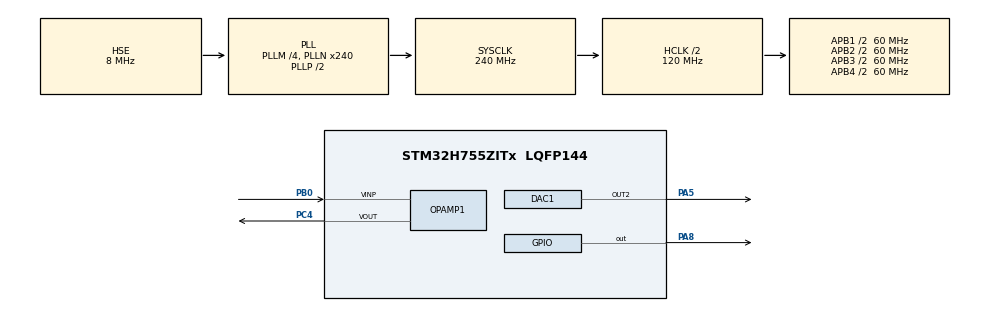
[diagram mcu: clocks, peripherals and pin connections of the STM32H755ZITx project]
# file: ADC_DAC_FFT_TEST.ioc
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ADC2.Channel-16\#ChannelRegularConversion=ADC_CHANNEL_4
ADC2.ConversionDataManagement=ADC_CONVERSIONDATA_DMA_CIRCULAR
ADC2.ExternalTrigConv=ADC_EXTERNALTRIG_T8_TRGO
ADC2.NbrOfConversionFlag=1
ADC2.OffsetNumber-16\#ChannelRegularConversion=ADC_OFFSET_NONE
ADC2.OffsetSignedSaturation-16\#ChannelRegularConversion=DISABLE
ADC2.Rank-16\#ChannelRegularConversion=1
ADC2.Resolution=ADC_RESOLUTION_12B
ADC2.SamplingTime-16\#ChannelRegularConversion=ADC_SAMPLETIME_32CYCLES_5
CORTEX_M7.CPU_DCache=Enabled
CORTEX_M7.CPU_ICache=Enabled
CORTEX_M7.default_mode_Activation=1
CortexM4.IPs=FATFS_M4\:I,FREERTOS_M4\:I,IWDG2\:I,RCC,WWDG2\:I,DMA,BDMA,MDMA,NVIC2\:I,USART3,DEBUG,PDM2PCM_M4\:I,PWR,RESMGR_UTILITY,SYS_M4\:I,USB_DEVICE_M4\:I,USB_HOST_M4\:I,CORTEX_M4\:I,GPIO,OPENAMP_M4\:I,VREFBUF
CortexM7.IPs=FATFS_M7\:I,FREERTOS_M7\:I,IWDG1\:I,RCC\:I,WWDG1\:I,DMA\:I,BDMA\:I,MDMA\:I,NVIC1\:I,USART3\:I,USB_OTG_FS\:I,SYS\:I,CORTEX_M7\:I,DEBUG\:I,PDM2PCM_M7\:I,PWR\:I,RESMGR_UTILITY\:I,USB_DEVICE_M7\:I,USB_HOST_M7\:I,GPIO\:I,OPENAMP_M7\:I,VREFBUF\:I,DAC1\:I,TIM5\:I,TIM8\:I,OPAMP2\:I,ADC2\:I,OPAMP1\:I
DAC1.DAC_Channel-DAC_OUT2=DAC_CHANNEL_2
DAC1.DAC_Trigger-DAC_OUT2=DAC_TRIGGER_T5_TRGO
Dma.ADC2.1.Direction=DMA_PERIPH_TO_MEMORY
Dma.ADC2.1.EventEnable=DISABLE
Dma.ADC2.1.FIFOMode=DMA_FIFOMODE_DISABLE
Dma.ADC2.1.Instance=DMA2_Stream0
Dma.ADC2.1.MemDataAlignment=DMA_MDATAALIGN_HALFWORD
Dma.ADC2.1.MemInc=DMA_MINC_ENABLE
Dma.ADC2.1.Mode=DMA_CIRCULAR
Dma.ADC2.1.PeriphDataAlignment=DMA_PDATAALIGN_HALFWORD
Dma.ADC2.1.PeriphInc=DMA_PINC_DISABLE
Dma.ADC2.1.Polarity=HAL_DMAMUX_REQ_GEN_RISING
Dma.ADC2.1.Priority=DMA_PRIORITY_HIGH
Dma.ADC2.1.RequestNumber=1
Dma.ADC2.1.SignalID=NONE
Dma.ADC2.1.SyncEnable=DISABLE
Dma.ADC2.1.SyncPolarity=HAL_DMAMUX_SYNC_NO_EVENT
Dma.ADC2.1.SyncRequestNumber=1
Dma.ADC2.1.SyncSignalID=NONE
Dma.DAC1_CH2.0.Direction=DMA_MEMORY_TO_PERIPH
Dma.DAC1_CH2.0.EventEnable=DISABLE
Dma.DAC1_CH2.0.FIFOMode=DMA_FIFOMODE_DISABLE
Dma.DAC1_CH2.0.Instance=DMA1_Stream1
Dma.DAC1_CH2.0.MemDataAlignment=DMA_MDATAALIGN_HALFWORD
Dma.DAC1_CH2.0.MemInc=DMA_MINC_ENABLE
Dma.DAC1_CH2.0.Mode=DMA_CIRCULAR
Dma.DAC1_CH2.0.PeriphDataAlignment=DMA_PDATAALIGN_HALFWORD
Dma.DAC1_CH2.0.PeriphInc=DMA_PINC_DISABLE
Dma.DAC1_CH2.0.Polarity=HAL_DMAMUX_REQ_GEN_RISING
Dma.DAC1_CH2.0.Priority=DMA_PRIORITY_VERY_HIGH
Dma.DAC1_CH2.0.RequestNumber=1
Dma.DAC1_CH2.0.SignalID=NONE
Dma.DAC1_CH2.0.SyncEnable=DISABLE
Dma.DAC1_CH2.0.SyncPolarity=HAL_DMAMUX_SYNC_NO_EVENT
Dma.DAC1_CH2.0.SyncRequestNumber=1
Dma.DAC1_CH2.0.SyncSignalID=NONE
Dma.Request0=DAC1_CH2
Dma.Request1=ADC2
Mcu.Family=STM32H7
Mcu.Name=STM32H755ZITx
Mcu.Package=LQFP144
NVIC1.DMA1_Stream1_IRQn=true\:0\:0\:false\:false\:true\:false\:true\:true
NVIC1.DMA2_Stream0_IRQn=true\:0\:0\:false\:false\:true\:false\:true\:true
NVIC1.PriorityGroup=NVIC_PRIORITYGROUP_4
NVIC2.PriorityGroup=NVIC_PRIORITYGROUP_4
PA5.PinAttribute=CortexM7
PA5.Signal=COMP_DAC12_group
PA8.PinAttribute=Free
PA8.Signal=GPIO_Output
PB0.Mode=Follower
PB0.PinAttribute=CortexM7
PB0.Signal=OPAMP1_VINP
PC4.Mode=Follower
PC4.PinAttribute=CortexM7
PC4.Signal=OPAMP1_VOUT
PH0-OSC_IN\ (PH0).Mode=HSE-External-Oscillator
PH0-OSC_IN\ (PH0).PinAttribute=CortexM7
PH0-OSC_IN\ (PH0).Signal=RCC_OSC_IN
PH1-OSC_OUT\ (PH1).Mode=HSE-External-Oscillator
PH1-OSC_OUT\ (PH1).PinAttribute=CortexM7
PH1-OSC_OUT\ (PH1).Signal=RCC_OSC_OUT
ProjectManager.HeapSize=M4-0x200,M7-0x200
ProjectManager.StackSize=M4-0x400,M7-0x400
ProjectManager.TargetToolchain=STM32CubeIDE
RCC.ADCFreq_Value=160000000
RCC.APB1Freq_Value=60000000
RCC.APB2Freq_Value=60000000
RCC.APB3Freq_Value=60000000
RCC.APB4Freq_Value=60000000
RCC.CortexFreq_Value=240000000
RCC.D1PPRE=RCC_APB3_DIV2
RCC.D2PPRE1=RCC_APB1_DIV2
RCC.D2PPRE2=RCC_APB2_DIV2
RCC.D3PPRE=RCC_APB4_DIV2
RCC.DIVM1=4
RCC.DIVM2=4
RCC.DIVN1=240
RCC.DIVN2=80
RCC.DIVP2=1
RCC.DIVQ1=5
RCC.HCLKFreq_Value=120000000
RCC.HPRE=RCC_HCLK_DIV2
RCC.HSE_VALUE=8000000
RCC.PLL2FRACN=0
RCC.PLL3FRACN=0
RCC.PLLFRACN=0
RCC.PLLSourceVirtual=RCC_PLLSOURCE_HSE
RCC.PWR_Regulator_Voltage_Scale=PWR_REGULATOR_VOLTAGE_SCALE1
RCC.ProductRev=revY
RCC.SYSCLKFreq_VALUE=240000000
RCC.SYSCLKSource=RCC_SYSCLKSOURCE_PLLCLK
RCC.SupplySource=PWR_DIRECT_SMPS_SUPPLY
RCC.USBFreq_Value=96000000
SH.COMP_DAC12_group.0=DAC1_OUT2,DAC_OUT2
TIM5.AutoReloadPreload=TIM_AUTORELOAD_PRELOAD_DISABLE
TIM5.Period=5000
TIM5.TIM_MasterOutputTrigger=TIM_TRGO_UPDATE
TIM8.AutoReloadPreload=TIM_AUTORELOAD_PRELOAD_DISABLE
TIM8.Period=5000
TIM8.TIM_MasterOutputTrigger=TIM_TRGO_UPDATE
VP_ADC2_OPAMP1_OUT.Mode=IN4-OPAMP1-Single-Ended
VP_SYS_M4_VS_Systick.Mode=SysTick
VP_TIM5_VS_ClockSourceINT.Mode=Internal
VP_TIM8_VS_ClockSourceINT.Mode=Internal
board=NUCLEO-H755ZI-Q

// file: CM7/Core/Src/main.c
/* USER CODE BEGIN Header */
/**
  ******************************************************************************
  * @file           : main.c
  * @brief          : Main program body
  ******************************************************************************
  * @attention
  *
  * Copyright (c) 2023 STMicroelectronics.
  * All rights reserved.
  *
  * This software is licensed under terms that can be found in the LICENSE file
  * in the root directory of this software component.
  * If no LICENSE file comes with this software, it is provided AS-IS.
  *
  ******************************************************************************
  */
/* USER CODE END Header */
#include "main.h"

/* USER CODE BEGIN Includes */
#include "arm_math.h"

/* USER CODE END Includes */

/* USER CODE BEGIN PD */

#ifndef HSEM_ID_0
#define HSEM_ID_0 (0U) /* HW semaphore 0*/
#endif
/* USER CODE END PD */

ADC_HandleTypeDef hadc2;
DMA_HandleTypeDef hdma_adc2;

DAC_HandleTypeDef hdac1;
DMA_HandleTypeDef hdma_dac1_ch2;

OPAMP_HandleTypeDef hopamp1;

TIM_HandleTypeDef htim5;
TIM_HandleTypeDef htim8;

void SystemClock_Config(void);
static void MPU_Config(void);
static void MX_GPIO_Init(void);
static void MX_DMA_Init(void);
static void MX_DAC1_Init(void);
static void MX_TIM5_Init(void);
static void MX_TIM8_Init(void);
static void MX_ADC2_Init(void);
static void MX_OPAMP1_Init(void);

/* USER CODE BEGIN 0 */
volatile uint8_t ADC_buffer_is_full=0;
volatile uint8_t ADC_buffer_is_half_full=0;
volatile uint8_t DAC_buffer_is_full=0;
volatile uint8_t DAC_buffer_is_half_full=0;
void HAL_ADC_ConvHalfCpltCallback(ADC_HandleTypeDef* hadc) {
	ADC_buffer_is_full=1;

}

// Called when buffer is completely filled
void HAL_ADC_ConvCpltCallback(ADC_HandleTypeDef* hadc) {
	//HAL_GPIO_WritePin(GPIOA, GPIO_PIN_5, GPIO_PIN_RESET);
	ADC_buffer_is_half_full=1;
}

void HAL_DACEx_ConvCpltCallbackCh2(DAC_HandleTypeDef *hdac){
	DAC_buffer_is_full=1;
}

void HAL_DACEx_ConvHalfCpltCallbackCh2(DAC_HandleTypeDef *hdac){
	DAC_buffer_is_half_full=1;
}

// best settings: 7000/512
#define sampleSize 1024
#define TIME_PERIOD 1000
#define inputBufferSize 512
#define outputBufferSize 512

float32_t octave_up1_blend=1;
float32_t octave_down1_blend=0;
float32_t original_blend=1;
/* USER CODE END 0 */

int main(void)
{
/* USER CODE BEGIN Boot_Mode_Sequence_0 */
  int32_t timeout;
/* USER CODE END Boot_Mode_Sequence_0 */

  /* MPU Configuration--------------------------------------------------------*/
  MPU_Config();

  /* Enable I-Cache---------------------------------------------------------*/
  SCB_EnableICache();

  /* Enable D-Cache---------------------------------------------------------*/
  SCB_EnableDCache();

/* USER CODE BEGIN Boot_Mode_Sequence_1 */
  /* Wait until CPU2 boots and enters in stop mode or timeout*/
  timeout = 0xFFFF;
  //while((__HAL_RCC_GET_FLAG(RCC_FLAG_D2CKRDY) != RESET) && (timeout-- > 0));
  if ( timeout < 0 )
  {
  Error_Handler();
  }
/* USER CODE END Boot_Mode_Sequence_1 */
  /* MCU Configuration--------------------------------------------------------*/

  /* Reset of all peripherals, Initializes the Flash interface and the Systick. */
  HAL_Init();

  /* Configure the system clock */
  SystemClock_Config();
/* USER CODE BEGIN Boot_Mode_Sequence_2 */
/* When system initialization is finished, Cortex-M7 will release Cortex-M4 by means of
HSEM notification */
/*HW semaphore Clock enable*/
__HAL_RCC_HSEM_CLK_ENABLE();
/*Take HSEM */
HAL_HSEM_FastTake(HSEM_ID_0);
/*Release HSEM in order to notify the CPU2(CM4)*/
HAL_HSEM_Release(HSEM_ID_0,0);
/* wait until CPU2 wakes up from stop mode */
timeout = 0xFFFF;
//while((__HAL_RCC_GET_FLAG(RCC_FLAG_D2CKRDY) == RESET) && (timeout-- > 0));
if ( timeout < 0 )
{
Error_Handler();
}
/* USER CODE END Boot_Mode_Sequence_2 */

  /* Initialize all configured peripherals */
  MX_GPIO_Init();
  MX_DMA_Init();
  MX_DAC1_Init();
  MX_TIM5_Init();
  MX_TIM8_Init();
  MX_ADC2_Init();
  MX_OPAMP1_Init();

  /* Infinite loop */
  /* USER CODE BEGIN WHILE */

  GPIO_InitTypeDef GPIO_InitStruct={0};
  GPIO_InitStruct.Pin=GPIO_PIN_8;
  GPIO_InitStruct.Mode=GPIO_MODE_OUTPUT_PP;
  GPIO_InitStruct.Speed=GPIO_SPEED_FREQ_LOW;
  HAL_GPIO_Init(GPIOA, &GPIO_InitStruct);

  // init ADC and DAC buffers
  uint16_t data_ADC[inputBufferSize*2]={0};
  uint16_t data_ADC_buffer[sampleSize];
  uint16_t data_DAC[outputBufferSize*2];
  uint16_t data_DAC_saved[sampleSize];
  uint16_t data_DAC_saved_LAST[sampleSize];
  uint16_t data_DAC_saved_LAST_saved[sampleSize];
  float32_t HANN_windowsfunction[sampleSize];

  for(int i=0;i<sampleSize;i++){
	  HANN_windowsfunction[i]=0.5 * (1.0 - cos(2.0 * M_PI * (double)i / (double)sampleSize));
  }

  // start DMA for ADC and DAC
  HAL_ADC_Start_DMA(&hadc2, (uint32_t*)data_ADC, inputBufferSize*2);
  HAL_DAC_Start_DMA(&hdac1, DAC_CHANNEL_2, (uint32_t*)data_DAC, outputBufferSize*2, DAC_ALIGN_12B_R);
  uint32_t adc_buffer_counter=0;
  uint32_t dac_buffer_counter=0;

  HAL_OPAMP_Start(&hopamp1);
  // start Timers for ADC and DAC
  HAL_TIM_Base_Start(&htim8);
  HAL_TIM_Base_Start(&htim5);

 // fft helping variables
  float32_t data_ADC_f[sampleSize];
  float32_t FFT_cmplx_output[sampleSize];
  float32_t FFT_amplitude[sampleSize/2];
  float32_t FFT_cmplx_output_copy[sampleSize/2]={0};

	arm_rfft_fast_instance_f32  f32instancec;
	arm_rfft_fast_init_f32(&f32instancec, sampleSize);
	uint8_t state;
	uint8_t DAC_data_rdy=0;

	uint32_t timeADC=HAL_GetTick();
  while (1)
  {

	  if(DAC_data_rdy){
		  if(DAC_buffer_is_full){

			  memcpy(&(data_DAC[outputBufferSize]),data_DAC_saved,outputBufferSize*sizeof(data_DAC_saved[0]));

			  HAL_GPIO_WritePin(GPIOA, GPIO_PIN_8, GPIO_PIN_RESET);
			  DAC_buffer_is_full=0;
			  DAC_data_rdy=0;
		  }
		  else if(DAC_buffer_is_half_full){

			  memcpy(data_DAC,data_DAC_saved,outputBufferSize*sizeof(data_DAC_saved[0]));

			  HAL_GPIO_WritePin(GPIOA, GPIO_PIN_8, GPIO_PIN_SET);
			  DAC_buffer_is_half_full=0;
			  DAC_data_rdy=0;
		  }
	  }
	  if(ADC_buffer_is_full){

		  //shift adc buffer to get the new data space

		  // data_ADC_Buffer[0] =  data_ADC_buffer[inputBufferSize]
		  // data_ADC_Buffer[1] =  data_ADC_buffer[inputBufferSize+1]
		  for(int i=inputBufferSize; i<sampleSize;i++){
			  data_ADC_buffer[i-inputBufferSize]=data_ADC_buffer[i];
		  }
		  //save ADC data to ADC buffer
		  memcpy(&(data_ADC_buffer[sampleSize-inputBufferSize]),&(data_ADC[inputBufferSize]),inputBufferSize*sizeof(data_ADC[0]));
		  //memcpy(data_DAC,data_DAC_saved,sampleSize*sizeof(data_DAC_saved[0]));

		  ADC_buffer_is_full=0;
		  state=1;
	  }else if(ADC_buffer_is_half_full){

		  //shift adc buffer to get the new data space
		  for(int i=inputBufferSize; i<sampleSize;i++){
			  data_ADC_buffer[i-inputBufferSize]=data_ADC_buffer[i];
		  }
		 //save ADC data to ADC buffer
		 memcpy(&(data_ADC_buffer[sampleSize-inputBufferSize]),data_ADC,inputBufferSize*sizeof(data_ADC[0]));

		  ADC_buffer_is_half_full=0;
		  state=1;
	  }

	  if(state){

		  timeADC=HAL_GetTick();
		  //transform ADC data to float
		  for(int i=0; i<sampleSize;i++){
			  data_ADC_f[i]=data_ADC_buffer[i]-2048;
		  }
		  for(int i=0;i<sampleSize;i++){
			  data_ADC_f[i]=data_ADC_f[i]*HANN_windowsfunction[i];
		  }

		  // FFT: time domain -> cmplx_freq
		  arm_rfft_fast_f32(&f32instancec, data_ADC_f, FFT_cmplx_output, 0);

		  for(uint32_t i=0; i<sampleSize/2;i++){
			  FFT_cmplx_output_copy[i]=FFT_cmplx_output[i];

		  }

		  // make an octaveUP shift by adding frequencys that are 2 times as fast
		  for(uint32_t i=2; i<sampleSize/2;i=i+2){
			  // octave UP 1
			  if(i<sampleSize/2){
				  FFT_cmplx_output[i+i]=FFT_cmplx_output_copy[i]*octave_up1_blend; 			// shift real
				  FFT_cmplx_output[i+i+1]=0;//FFT_cmplx_output_copy[i+1]*octave_up1_blend; 		// shift cmplx
			  }

		  }
		  // add original sound
		  for(uint32_t i=0; i<sampleSize/2+1;i++){
			  FFT_cmplx_output[i]=FFT_cmplx_output[i]+FFT_cmplx_output_copy[i]*original_blend;

		  }

		  // FFT: cmplx_freq -> time domain
		  arm_rfft_fast_f32(&f32instancec, FFT_cmplx_output,data_ADC_f,1);

      // inverse fft time domain w/ window function on it
		  for(int i=0; i<sampleSize; i++){
			  data_DAC_saved[i]=data_ADC_f[i]+2048;
		  }
      // save this reconstructed signal
      for(int i=0; i<sampleSize; i++){
			  data_DAC_saved_LAST_saved[i]=data_DAC_saved[i];
		  }

      // 50 % overlap
      // add previoues windowed reconstructed signal with 50% overlap
      for(int i=sampleSize/2; i<sampleSize; i++){
			  data_DAC_saved[i]+=data_DAC_saved_LAST[sampleSize/2+i];
		  }
      // save this data
      for(int i=0; i<sampleSize; i++){
			  data_DAC_saved_LAST[i]+=data_DAC_saved_LAST_saved[i];
		  }

		  //HAL_GPIO_TogglePin(GPIO_InitStruct, GPIO_Pin)
		  timeADC=HAL_GetTick()-timeADC;
		  timeADC=HAL_GetTick();
		  state=0;
		  DAC_data_rdy=1;

	  }
    /* USER CODE END WHILE */

  }
}

void SystemClock_Config(void)
{
  RCC_OscInitTypeDef RCC_OscInitStruct = {0};
  RCC_ClkInitTypeDef RCC_ClkInitStruct = {0};

  /** Supply configuration update enable
  */
  HAL_PWREx_ConfigSupply(PWR_DIRECT_SMPS_SUPPLY);

  /** Configure the main internal regulator output voltage
  */
  __HAL_PWR_VOLTAGESCALING_CONFIG(PWR_REGULATOR_VOLTAGE_SCALE1);

  while(!__HAL_PWR_GET_FLAG(PWR_FLAG_VOSRDY)) {}

  /** Macro to configure the PLL clock source
  */
  __HAL_RCC_PLL_PLLSOURCE_CONFIG(RCC_PLLSOURCE_HSE);

  /** Initializes the RCC Oscillators according to the specified parameters
  * in the RCC_OscInitTypeDef structure.
  */
  RCC_OscInitStruct.OscillatorType = RCC_OSCILLATORTYPE_HSE;
  RCC_OscInitStruct.HSEState = RCC_HSE_ON;
  RCC_OscInitStruct.PLL.PLLState = RCC_PLL_ON;
  RCC_OscInitStruct.PLL.PLLSource = RCC_PLLSOURCE_HSE;
  RCC_OscInitStruct.PLL.PLLM = 4;
  RCC_OscInitStruct.PLL.PLLN = 240;
  RCC_OscInitStruct.PLL.PLLP = 2;
  RCC_OscInitStruct.PLL.PLLQ = 5;
  RCC_OscInitStruct.PLL.PLLR = 2;
  RCC_OscInitStruct.PLL.PLLRGE = RCC_PLL1VCIRANGE_1;
  RCC_OscInitStruct.PLL.PLLVCOSEL = RCC_PLL1VCOWIDE;
  RCC_OscInitStruct.PLL.PLLFRACN = 0;
  if (HAL_RCC_OscConfig(&RCC_OscInitStruct) != HAL_OK)
  {
    Error_Handler();
  }

  /** Initializes the CPU, AHB and APB buses clocks
  */
  RCC_ClkInitStruct.ClockType = RCC_CLOCKTYPE_HCLK|RCC_CLOCKTYPE_SYSCLK
                              |RCC_CLOCKTYPE_PCLK1|RCC_CLOCKTYPE_PCLK2
                              |RCC_CLOCKTYPE_D3PCLK1|RCC_CLOCKTYPE_D1PCLK1;
  RCC_ClkInitStruct.SYSCLKSource = RCC_SYSCLKSOURCE_PLLCLK;
  RCC_ClkInitStruct.SYSCLKDivider = RCC_SYSCLK_DIV1;
  RCC_ClkInitStruct.AHBCLKDivider = RCC_HCLK_DIV2;
  RCC_ClkInitStruct.APB3CLKDivider = RCC_APB3_DIV2;
  RCC_ClkInitStruct.APB1CLKDivider = RCC_APB1_DIV2;
  RCC_ClkInitStruct.APB2CLKDivider = RCC_APB2_DIV2;
  RCC_ClkInitStruct.APB4CLKDivider = RCC_APB4_DIV2;

  if (HAL_RCC_ClockConfig(&RCC_ClkInitStruct, FLASH_LATENCY_1) != HAL_OK)
  {
    Error_Handler();
  }
}

static void MX_ADC2_Init(void)
{

  ADC_ChannelConfTypeDef sConfig = {0};

  /** Common config
  */
  hadc2.Instance = ADC2;
  hadc2.Init.ClockPrescaler = ADC_CLOCK_ASYNC_DIV6;
  hadc2.Init.Resolution = ADC_RESOLUTION_12B;
  hadc2.Init.ScanConvMode = ADC_SCAN_DISABLE;
  hadc2.Init.EOCSelection = ADC_EOC_SINGLE_CONV;
  hadc2.Init.LowPowerAutoWait = DISABLE;
  hadc2.Init.ContinuousConvMode = DISABLE;
  hadc2.Init.NbrOfConversion = 1;
  hadc2.Init.DiscontinuousConvMode = DISABLE;
  hadc2.Init.ExternalTrigConv = ADC_EXTERNALTRIG_T8_TRGO;
  hadc2.Init.ExternalTrigConvEdge = ADC_EXTERNALTRIGCONVEDGE_RISING;
  hadc2.Init.ConversionDataManagement = ADC_CONVERSIONDATA_DMA_CIRCULAR;
  hadc2.Init.Overrun = ADC_OVR_DATA_PRESERVED;
  hadc2.Init.LeftBitShift = ADC_LEFTBITSHIFT_NONE;
  hadc2.Init.OversamplingMode = DISABLE;
  if (HAL_ADC_Init(&hadc2) != HAL_OK)
  {
    Error_Handler();
  }

  /** Configure Regular Channel
  */
  sConfig.Channel = ADC_CHANNEL_4;
  sConfig.Rank = ADC_REGULAR_RANK_1;
  sConfig.SamplingTime = ADC_SAMPLETIME_32CYCLES_5;
  sConfig.SingleDiff = ADC_SINGLE_ENDED;
  sConfig.OffsetNumber = ADC_OFFSET_NONE;
  sConfig.Offset = 0;
  sConfig.OffsetSignedSaturation = DISABLE;
  if (HAL_ADC_ConfigChannel(&hadc2, &sConfig) != HAL_OK)
  {
    Error_Handler();
  }

}

static void MX_DAC1_Init(void)
{

  DAC_ChannelConfTypeDef sConfig = {0};

  /** DAC Initialization
  */
  hdac1.Instance = DAC1;
  if (HAL_DAC_Init(&hdac1) != HAL_OK)
  {
    Error_Handler();
  }

  /** DAC channel OUT2 config
  */
  sConfig.DAC_SampleAndHold = DAC_SAMPLEANDHOLD_DISABLE;
  sConfig.DAC_Trigger = DAC_TRIGGER_T5_TRGO;
  sConfig.DAC_OutputBuffer = DAC_OUTPUTBUFFER_ENABLE;
  sConfig.DAC_ConnectOnChipPeripheral = DAC_CHIPCONNECT_DISABLE;
  sConfig.DAC_UserTrimming = DAC_TRIMMING_FACTORY;
  if (HAL_DAC_ConfigChannel(&hdac1, &sConfig, DAC_CHANNEL_2) != HAL_OK)
  {
    Error_Handler();
  }

}

static void MX_OPAMP1_Init(void)
{

  hopamp1.Instance = OPAMP1;
  hopamp1.Init.Mode = OPAMP_FOLLOWER_MODE;
  hopamp1.Init.NonInvertingInput = OPAMP_NONINVERTINGINPUT_IO0;
  hopamp1.Init.PowerMode = OPAMP_POWERMODE_NORMAL;
  hopamp1.Init.UserTrimming = OPAMP_TRIMMING_FACTORY;
  if (HAL_OPAMP_Init(&hopamp1) != HAL_OK)
  {
    Error_Handler();
  }

}

static void MX_TIM5_Init(void)
{

  TIM_ClockConfigTypeDef sClockSourceConfig = {0};
  TIM_MasterConfigTypeDef sMasterConfig = {0};

  htim5.Instance = TIM5;
  htim5.Init.Prescaler = 0;
  htim5.Init.CounterMode = TIM_COUNTERMODE_UP;
  htim5.Init.Period = TIME_PERIOD;
  htim5.Init.ClockDivision = TIM_CLOCKDIVISION_DIV1;
  htim5.Init.AutoReloadPreload = TIM_AUTORELOAD_PRELOAD_DISABLE;
  if (HAL_TIM_Base_Init(&htim5) != HAL_OK)
  {
    Error_Handler();
  }
  sClockSourceConfig.ClockSource = TIM_CLOCKSOURCE_INTERNAL;
  if (HAL_TIM_ConfigClockSource(&htim5, &sClockSourceConfig) != HAL_OK)
  {
    Error_Handler();
  }
  sMasterConfig.MasterOutputTrigger = TIM_TRGO_UPDATE;
  sMasterConfig.MasterSlaveMode = TIM_MASTERSLAVEMODE_DISABLE;
  if (HAL_TIMEx_MasterConfigSynchronization(&htim5, &sMasterConfig) != HAL_OK)
  {
    Error_Handler();
  }

}

static void MX_TIM8_Init(void)
{

  TIM_ClockConfigTypeDef sClockSourceConfig = {0};
  TIM_MasterConfigTypeDef sMasterConfig = {0};

  htim8.Instance = TIM8;
  htim8.Init.Prescaler = 0;
  htim8.Init.CounterMode = TIM_COUNTERMODE_UP;
  htim8.Init.Period = TIME_PERIOD;
  htim8.Init.ClockDivision = TIM_CLOCKDIVISION_DIV1;
  htim8.Init.RepetitionCounter = 0;
  htim8.Init.AutoReloadPreload = TIM_AUTORELOAD_PRELOAD_DISABLE;
  if (HAL_TIM_Base_Init(&htim8) != HAL_OK)
  {
    Error_Handler();
  }
  sClockSourceConfig.ClockSource = TIM_CLOCKSOURCE_INTERNAL;
  if (HAL_TIM_ConfigClockSource(&htim8, &sClockSourceConfig) != HAL_OK)
  {
    Error_Handler();
  }
  sMasterConfig.MasterOutputTrigger = TIM_TRGO_UPDATE;
  sMasterConfig.MasterOutputTrigger2 = TIM_TRGO2_RESET;
  sMasterConfig.MasterSlaveMode = TIM_MASTERSLAVEMODE_DISABLE;
  if (HAL_TIMEx_MasterConfigSynchronization(&htim8, &sMasterConfig) != HAL_OK)
  {
    Error_Handler();
  }

}

static void MX_DMA_Init(void)
{

  /* DMA controller clock enable */
  __HAL_RCC_DMA1_CLK_ENABLE();
  __HAL_RCC_DMA2_CLK_ENABLE();

  /* DMA interrupt init */
  /* DMA1_Stream1_IRQn interrupt configuration */
  HAL_NVIC_SetPriority(DMA1_Stream1_IRQn, 0, 0);
  HAL_NVIC_EnableIRQ(DMA1_Stream1_IRQn);
  /* DMA2_Stream0_IRQn interrupt configuration */
  HAL_NVIC_SetPriority(DMA2_Stream0_IRQn, 0, 0);
  HAL_NVIC_EnableIRQ(DMA2_Stream0_IRQn);

}

static void MX_GPIO_Init(void)
{

  /* GPIO Ports Clock Enable */
  __HAL_RCC_GPIOH_CLK_ENABLE();
  __HAL_RCC_GPIOA_CLK_ENABLE();
  __HAL_RCC_GPIOC_CLK_ENABLE();
  __HAL_RCC_GPIOB_CLK_ENABLE();

}

/* MPU Configuration */

void MPU_Config(void)
{
  MPU_Region_InitTypeDef MPU_InitStruct = {0};

  /* Disables the MPU */
  HAL_MPU_Disable();

  /** Initializes and configures the Region and the memory to be protected
  */
  MPU_InitStruct.Enable = MPU_REGION_ENABLE;
  MPU_InitStruct.Number = MPU_REGION_NUMBER0;
  MPU_InitStruct.BaseAddress = 0x0;
  MPU_InitStruct.Size = MPU_REGION_SIZE_4GB;
  MPU_InitStruct.SubRegionDisable = 0x87;
  MPU_InitStruct.TypeExtField = MPU_TEX_LEVEL0;
  MPU_InitStruct.AccessPermission = MPU_REGION_NO_ACCESS;
  MPU_InitStruct.DisableExec = MPU_INSTRUCTION_ACCESS_DISABLE;
  MPU_InitStruct.IsShareable = MPU_ACCESS_SHAREABLE;
  MPU_InitStruct.IsCacheable = MPU_ACCESS_NOT_CACHEABLE;
  MPU_InitStruct.IsBufferable = MPU_ACCESS_NOT_BUFFERABLE;

  HAL_MPU_ConfigRegion(&MPU_InitStruct);
  /* Enables the MPU */
  HAL_MPU_Enable(MPU_PRIVILEGED_DEFAULT);

}

void Error_Handler(void)
{
  __disable_irq();
  while (1)
  {
  }
}
